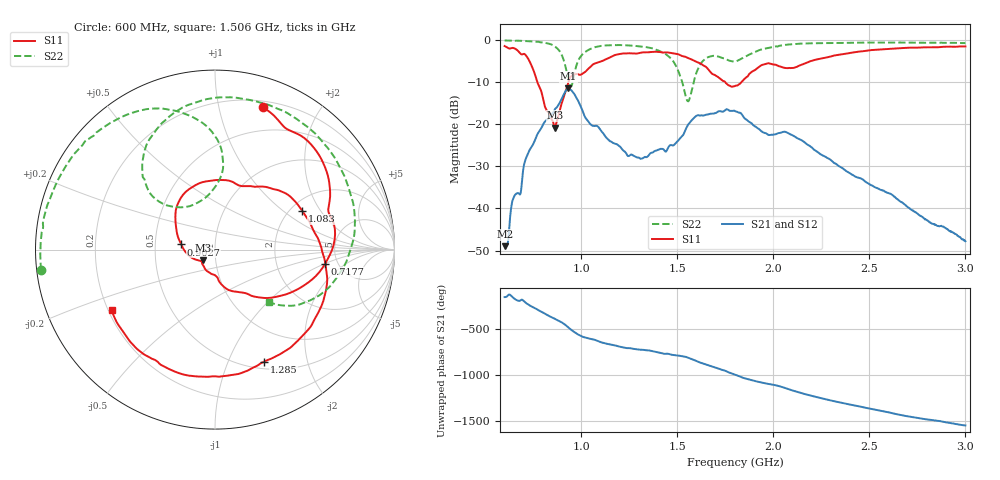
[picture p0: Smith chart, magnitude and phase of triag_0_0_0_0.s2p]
#  HZ  S  RI  R  50.00
! Rohde & Schwarz ZVB8 2Ports - Version 2.81 - 1145.1010k08 SN: 100113
! Date: 2016-05-03 01:36:49
! Measurements: S11 S21 S12 S22
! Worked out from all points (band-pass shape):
!   1000 points, 600 MHz to 3 GHz, reference 50 ohm
!   highest |S21| = -11.55 dB at 931.5 MHz (marker M1); lowest = -49.0 dB at 602.4 MHz (marker M2)
!   |S21| within 3 dB of the highest: 892.1 MHz to 983.3 MHz (91.18 MHz wide, 9.72 % of centre)
!   lowest |S11| = -20.8 dB at 861.9 MHz (marker M3), VSWR 1.20, Z = 43.4 - j5.28 ohm
!   |S11| at or under -10 dB: 769.9 MHz to 932.8 MHz (162.9 MHz wide, 19.1 % of centre); 1.747 GHz to 1.835 GHz (87.85 MHz wide, 4.9 % of centre)
!   |S22| runs from -14.6 to -0.2 dB; largest |S21 - S12| = 0.0016
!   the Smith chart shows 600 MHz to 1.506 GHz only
!   S11 on the Smith chart (normalised r, x): 600 MHz: 0.26, +1.36; 717.7 MHz: 3.96, -1.01; 902.7 MHz: 0.68, +0.04; 1.083 GHz: 2.30, +1.39; 1.285 GHz: 0.58, -1.36; 1.506 GHz: 0.21, -0.26
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6e8  0.2665 0.7937  -0.00341 -0.00145  -0.00339 -0.0014  -0.969 -0.1128
6.024024e8  0.282 0.7832  -0.00327 -0.00141  -0.00335 -0.00144  -0.97 -0.1013
7.177177e8  0.6131 -0.0789  -0.0273 0.0325  -0.0274 0.0322  -0.8767 0.3852
8.618619e8  -0.0677 -0.0604  0.1265 -0.0783  0.1268 -0.0777  -0.2726 0.7827
9.027027e8  -0.1882 0.029  0.047 -0.2064  0.0478 -0.2057  0.0115 0.6156
9.315315e8  -0.2181 0.2198  -0.1486 -0.2188  -0.1471 -0.2192  -0.00717 0.3387
1.001201e9  0.1581 0.3536  -0.1161 0.0997  -0.1165 0.0989  -0.4009 0.5124
1.082883e9  0.4859 0.2166  -0.000165 0.0942  -0.000639 0.094  -0.1293 0.8126
1.178979e9  0.6173 -0.2319  0.0453 0.0363  0.0451 0.0364  0.3113 0.8012
1.284685e9  0.2717 -0.6252  0.0405 -0.000179  0.0404 2e-07  0.676 0.496
1.4e9  -0.2451 -0.6704  0.0408 -0.0281  0.0408 -0.0279  0.742 -0.0381
1.505706e9  -0.5747 -0.3386  0.0226 -0.0598  0.0231 -0.0594  0.3001 -0.2903
1.553754e9  -0.5886 -0.149  -0.000459 -0.0964  -0.000512 -0.0964  0.1767 -0.0591
1.596997e9  -0.5484 -0.0149  -0.0727 -0.1005  -0.0723 -0.1005  0.3815 0.0898
1.661862e9  -0.4193 0.1339  -0.1293 -0.0132  -0.1293 -0.0138  0.5958 -0.1769
1.801201e9  -0.2718 0.0777  0.0146 0.1405  0.0139 0.1402  0.3613 -0.4159
1.940541e9  -0.4175 0.2751  0.0808 -0.00292  0.0807 -0.00274  0.2528 -0.7233
2.2e9  0.0403 0.5603  -0.0432 -0.0299  -0.043 -0.03  -0.5276 -0.7333
2.437838e9  0.6958 0.1683  -0.0065 0.0224  -0.00664 0.0224  -0.8876 -0.2292
2.601201e9  0.6013 -0.4885  0.0121 0.00914  0.0119 0.00909  -0.9078 0.1543
2.786186e9  -0.0466 -0.8064  0.0062 -0.00433  0.00628 -0.00428  -0.7314 0.5518
3e9  -0.7016 -0.44  -0.00101 -0.00395  -0.000939 -0.00402  -0.3263 0.8475
